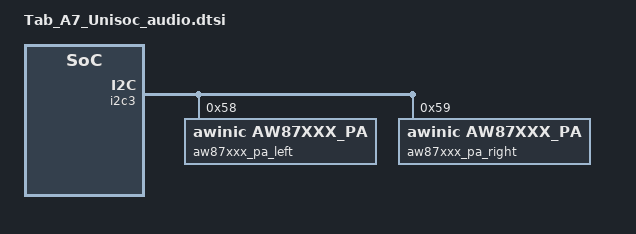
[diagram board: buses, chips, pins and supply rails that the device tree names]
/*Tab A7 T618 code for SR-AX6189A-01-187 by yuyongxiang at 20211220 start*/
&ucp1301_spk {
    status = "disabled";
};

&i2c3 {
    status = "okay";
    /* AWINIC AW87XXX Smart K PA */
    aw87xxx_pa_left: aw87xxx_pa@58 {
        compatible = "awinic,aw87xxx_pa";
        reg = <0x58>;
        dev_index = < 0 >;
        status = "okay";
    };

    aw87xxx_pa_right: aw87xxx_pa@59 {
        compatible = "awinic,aw87xxx_pa";
        reg = <0x59>;
        dev_index = < 1 >;
        status = "okay";
    };
};

&sound_vbc_v4_sprd_codec {
    status = "okay";
    /*ext_control_type, hook selection, mode, gpio share*/
    sprd,spk-ext-pa-info = <0 0 1 0>,<1 1 1 0>;
    sprd,spk-ext-pa-gpio = <&ap_gpio 86 0>,<&ap_gpio 88 0>;
    /* Tab A7 T618 code for AX6189DEV-666 by yuyongxiang at 20220118 start */
    /*  fsm  PA  */
    sprd,spk-ext-pa-fsm-info = < 0 2 4 0 >,< 1 3 4 0 >;
    /* Tab A7 T618 code for AX6189DEV-666 by yuyongxiang at 20220118 end */
    sprd,spk-ext-pa-fsm-gpio = <&ap_gpio 132 0>,<&ap_gpio 130 0>;
    sprd,spk-ext-pa-adp1-pin = <&ap_gpio 131 0>;
    sprd,spk-ext-pa-adp2-pin = <&ap_gpio 133 0>;
};
/*Tab A7 T618 code for SR-AX6189A-01-187 by yuyongxiang at 20211220 end*/
